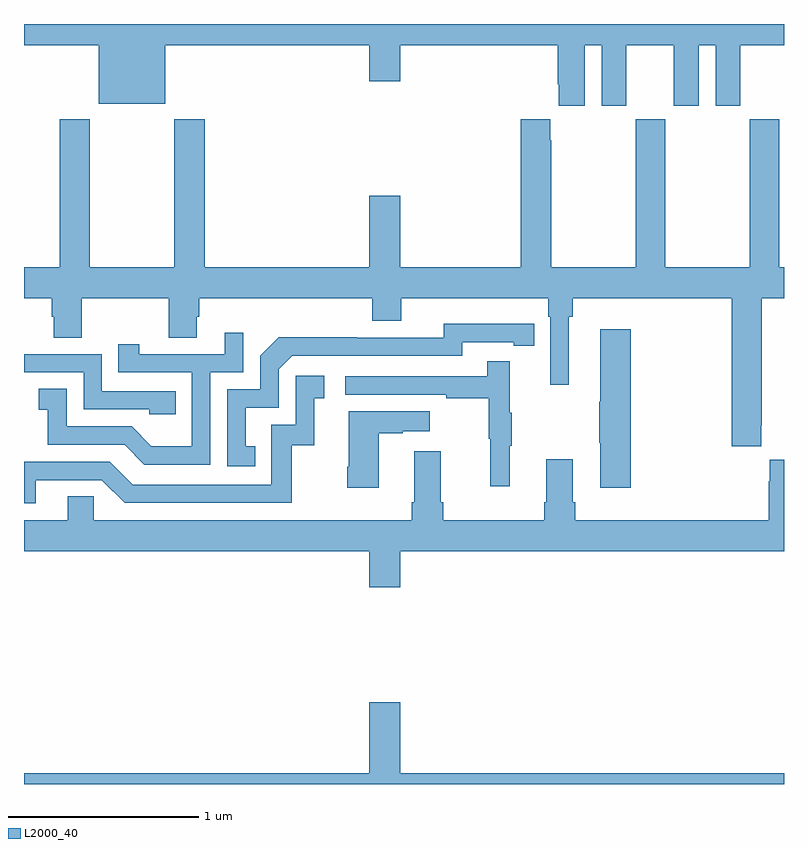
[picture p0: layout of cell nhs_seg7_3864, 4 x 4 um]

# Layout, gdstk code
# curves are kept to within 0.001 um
import gdstk
lib = gdstk.Library(unit=1e-6, precision=1e-09)
def P(c, l, *ps):  # polygons
    for p in ps: c.add(gdstk.Polygon(p, *l))
L2000_40 = (2000, 40)

nhs_seg7_3864 = lib.new_cell('nhs_seg7_3864')
P(nhs_seg7_3864, L2000_40, [(357.952,1061.888),(358.04,1061.888),(358.04,1061.571),(358.171,1061.571),(358.171,1061.888),(358.421,1061.888),(358.421,1061.571),(358.552,1061.571),(358.552,1061.888),(358.64,1061.888),(358.64,1061.571),(358.771,1061.571),(358.771,1061.888),(359,1061.888),(359,1062),(355,1062),(355,1061.888),(355.394,1061.888),(355.394,1061.579),(355.744,1061.579),(355.744,1061.888),(356.816,1061.888),(356.816,1061.7),(356.98,1061.7),(356.98,1061.888),(357.809,1061.888),(357.809,1061.683),(357.815,1061.683),(357.815,1061.571),(357.952,1061.571)],
  [(355,1060.556),(355.145,1060.556),(355.145,1060.458),(355.157,1060.458),(355.157,1060.348),(355.305,1060.348),(355.305,1060.556),(355.762,1060.556),(355.762,1060.348),(355.909,1060.348),(355.909,1060.458),(355.922,1060.458),(355.922,1060.556),(356.834,1060.556),(356.834,1060.439),(356.986,1060.439),(356.986,1060.556),(357.758,1060.556),(357.758,1060.46),(357.771,1060.46),(357.771,1060.101),(357.868,1060.101),(357.868,1060.46),(357.887,1060.46),(357.887,1060.556),(358.724,1060.556),(358.724,1059.777),(358.879,1059.777),(358.879,1059.889),(358.884,1059.889),(358.884,1060.556),(359,1060.556),(359,1060.72),(358.974,1060.72),(358.974,1061.5),(358.819,1061.5),(358.819,1060.72),(358.374,1060.72),(358.374,1061.5),(358.219,1061.5),(358.219,1060.72),(357.774,1060.72),(357.774,1061.387),(357.769,1061.387),(357.769,1061.5),(357.614,1061.5),(357.614,1060.72),(356.98,1060.72),(356.98,1061.095),(356.816,1061.095),(356.816,1060.72),(355.952,1060.72),(355.952,1061.5),(355.792,1061.5),(355.792,1060.72),(355.347,1060.72),(355.347,1061.5),(355.187,1061.5),(355.187,1060.72),(355,1060.72)],
  [(356.216,1059.777),(356.167,1059.777),(356.167,1059.981),(356.34,1059.981),(356.34,1060.182),(356.412,1060.254),(357.306,1060.254),(357.306,1060.326),(357.578,1060.326),(357.578,1060.306),(357.686,1060.306),(357.686,1060.422),(357.21,1060.423),(357.21,1060.35),(356.75,1060.35),(356.75,1060.352),(356.342,1060.352),(356.244,1060.254),(356.244,1060.077),(356.07,1060.077),(356.07,1059.672),(356.216,1059.672)],
  [(358.193,1060.393),(358.034,1060.393),(358.034,1060.013),(358.027,1060.013),(358.027,1059.796),(358.034,1059.796),(358.034,1059.558),(358.193,1059.558)],
  [(355.98,1060.167),(356.154,1060.167),(356.154,1060.375),(356.057,1060.375),(356.057,1060.263),(355.606,1060.263),(355.606,1060.315),(355.495,1060.315),(355.495,1060.167),(355.884,1060.167),(355.884,1059.778),(355.67,1059.778),(355.566,1059.882),(355.224,1059.882),(355.224,1060.081),(355.077,1060.081),(355.077,1059.971),(355.126,1059.971),(355.126,1059.786),(355.529,1059.786),(355.634,1059.681),(355.98,1059.681)],
  [(355.799,1060.068),(355.41,1060.068),(355.41,1060.263),(355,1060.263),(355,1060.167),(355.314,1060.167),(355.314,1059.972),(355.659,1059.972),(355.659,1059.945),(355.799,1059.945)],
  [(357.557,1059.779),(357.568,1059.779),(357.568,1059.953),(357.557,1059.953),(357.557,1060.225),(357.439,1060.225),(357.439,1060.146),(356.691,1060.146),(356.691,1060.05),(357.223,1060.05),(357.223,1060.03),(357.447,1060.03),(357.447,1059.816),(357.454,1059.816),(357.454,1059.567),(357.557,1059.567)],
  [(355.063,1059.6),(355.41,1059.6),(355.53,1059.48),(356.41,1059.48),(356.41,1059.783),(356.528,1059.783),(356.528,1060.029),(356.581,1060.029),(356.581,1060.15),(356.43,1060.15),(356.43,1059.891),(356.301,1059.891),(356.301,1059.576),(355.572,1059.576),(355.452,1059.696),(355,1059.696),(355,1059.477),(355.063,1059.477)],
  [(356.866,1059.847),(356.993,1059.847),(356.993,1059.857),(357.136,1059.857),(357.136,1059.961),(356.708,1059.961),(356.708,1059.67),(356.701,1059.67),(356.701,1059.558),(356.866,1059.558)],
  [(356.816,1059.036),(356.98,1059.036),(356.98,1059.224),(359,1059.224),(359,1059.706),(358.925,1059.706),(358.925,1059.593),(358.919,1059.593),(358.919,1059.388),(357.902,1059.388),(357.902,1059.484),(357.889,1059.484),(357.889,1059.709),(357.749,1059.709),(357.749,1059.484),(357.737,1059.484),(357.737,1059.388),(357.206,1059.388),(357.206,1059.484),(357.193,1059.484),(357.193,1059.751),(357.053,1059.751),(357.053,1059.484),(357.041,1059.484),(357.041,1059.388),(355.368,1059.388),(355.368,1059.515),(355.229,1059.515),(355.229,1059.388),(355,1059.388),(355,1059.224),(356.816,1059.224)],
  [(359,1058.056),(356.98,1058.056),(356.98,1058.431),(356.816,1058.431),(356.816,1058.056),(355,1058.056),(355,1058),(359,1058)])

lib.write_gds('nhs_seg7_3864.gds')
